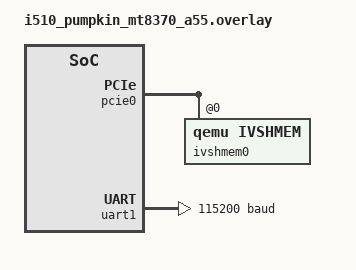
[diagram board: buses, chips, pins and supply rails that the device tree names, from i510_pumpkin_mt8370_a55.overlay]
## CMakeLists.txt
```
# SPDX-License-Identifier: Apache-2.0

cmake_minimum_required(VERSION 3.20.0)

find_package(Zephyr REQUIRED HINTS $ENV{ZEPHYR_BASE})
project(rpmsg-test)

target_include_directories(app PRIVATE ../../include)

target_sources(app PRIVATE src/main.c)
```

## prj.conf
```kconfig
CONFIG_OPENAMP=y
CONFIG_HEAP_MEM_POOL_SIZE=131072

CONFIG_PCIE=y
CONFIG_PCIE_CONTROLLER=y
CONFIG_PCIE_ECAM=y
CONFIG_POLL=y
CONFIG_DYNAMIC_INTERRUPTS=y

CONFIG_VIRTUALIZATION=y
CONFIG_IVSHMEM_V2=y
CONFIG_IVSHMEM_DOORBELL=y

# Logging related configurstions
#CONFIG_LOG=y
#CONFIG_LOG_MODE_IMMEDIATE=y
#CONFIG_LOG_DEFAULT_LEVEL=4
#CONFIG_PCIE_LOG_LEVEL_DBG=y
#CONFIG_IVSHMEM_LOG_LEVEL_DBG=y
```

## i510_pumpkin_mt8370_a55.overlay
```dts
/*
 * Copyright 2025 MediaTek
 *
 * SPDX-License-Identifier: Apache-2.0
 */

/ {
	chosen {
		zephyr,pcie-controller = &pcie0;
	};

	pcie0: pcie@6b800000 {
		compatible = "pci-host-ecam-generic";
		device_type = "pci";
		reg = <0x0 0x6b800000 0x00 0x100000>;
		#address-cells = <0x03>;
		#size-cells = <0x02>;
		ranges = <0x03000000 0x00 0x6b900000 0x0 0x6b900000 0x00 0x1000>;

		status = "okay";

		ivshmem0: ivshmem@0 {
			compatible = "qemu,ivshmem";

            ivshmem-v2;

            interrupt-parent = <&gic>;
            interrupts = <GIC_SPI 74 IRQ_TYPE_LEVEL_HIGH IRQ_DEFAULT_PRIORITY>;

			vendor-id = <0x110a>;			/* Siemens */
			device-id = <0x4106>;			/* IVSHMEM */
			class-rev = <0xff000000>;       /* PCI_CLASS_OTHERS | IVSHMEM_PROTO_UNDEFINED */
			class-rev-mask = <0xffffff00>;	/* PCI_CLASS_MASK | IVSHMEM_PROTO_MASK */

			reg = <0x00 0x00 0x00 0x00 0x01>;

			status = "okay";
		};
	};
};

&gpio0_31 {
	status = "okay";
};

&uart1 {
	pinctrl-0 = <&uart1_default>;
	pinctrl-names = "default";
	current-speed = <115200>;
	status = "okay";
};
```

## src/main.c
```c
/*
 * Copyright (c) 2018, NXP
 * Copyright (c) 2018, Nordic Semiconductor ASA
 * Copyright (c) 2018-2019, Linaro Limited
 *
 * SPDX-License-Identifier: Apache-2.0
 */

#include <stdio.h>
#include <stdlib.h>
#include <string.h>
#include <zephyr/device.h>
#include <zephyr/drivers/ipm.h>
#include <zephyr/drivers/virtualization/ivshmem.h>
#include <zephyr/kernel.h>

#include <openamp/open_amp.h>
#include <metal/device.h>

#include "common.h"


#define ERROR_STR  "[ERROR] "
#define INFO_STR   "[INFO]  "

#define RPMSG_SERVICE_NAME "rpmsg"

#define MSG_STR_SIZE 64

#define MSG_STR "Hello from Zephyr!"

#define RPMSG_THREAD_STACK_SIZE    2048
#define DOORBELL_THREAD_STACK_SIZE 2048


typedef struct {
	/* IVSHMEM device */
	const struct device* dev;

	/* Virtual and physical address of IVSHMEM RW memory region. */
	uintptr_t ivshmem_paddr;
	uintptr_t ivshmem_vaddr;

	/* Size of IVSHMEM RW memory region. */
	size_t ivshmem_size;
}   rpmsg_ctx_t;


static int msg_cnt = 0;

static char msg_tx [MSG_STR_SIZE];

static rpmsg_ctx_t rpmsg_ctx;

static uint32_t target = UINT32_MAX;
static uint32_t rpmsg_dest = UINT32_MAX;

static uintptr_t vdev_status_vaddr;

static struct metal_io_region metal_io;

static metal_phys_addr_t rpmsg_paddr_map;

static struct rpmsg_virtio_shm_pool shm_pool;

static struct virtqueue* vq [VRING_COUNT];

static struct virtio_vring_info vrings [VRING_COUNT];

static struct virtio_device vdev;

static struct rpmsg_virtio_device rpmsg_vdev;

static struct rpmsg_device* rpmsg_dev;

static struct rpmsg_endpoint rpmsg_ept;

static struct k_thread rpmsg_thread;
static struct k_thread doorbell_thread;

static K_THREAD_STACK_DEFINE (rpmsg_stack, RPMSG_THREAD_STACK_SIZE);
static K_THREAD_STACK_DEFINE (doorbell_stack, DOORBELL_THREAD_STACK_SIZE);

static K_SEM_DEFINE (ept_sem, 0, 1);

static struct k_poll_signal doorbell_sig = K_POLL_SIGNAL_INITIALIZER (doorbell_sig);

static struct k_poll_event doorbell_evt = K_POLL_EVENT_INITIALIZER (K_POLL_TYPE_SIGNAL, K_POLL_MODE_NOTIFY_ONLY, &doorbell_sig);

static volatile bool tx_msg = false;


static unsigned char vdev_get_status (struct virtio_device* vdev);
static void vdev_set_status (struct virtio_device* vdev,
                             unsigned char         status);
static uint32_t vdev_get_features (struct virtio_device* vdev);
static void vdev_set_features (struct virtio_device* vdev,
                               uint32_t              features);
static void vdev_nfy (struct virtqueue* vq);

static void rpmsg_ns_nfy (struct rpmsg_device* rdev,
                          const char*          name,
                          uint32_t             dest);
static int rpmsg_ept_nfy (struct rpmsg_endpoint* ept,
                          void*                  data,
		                  size_t                 len,
                          uint32_t               src,
                          void*                  priv);
static void rpmsg_service_unbind(struct rpmsg_endpoint* ept);

static void doorbell_task (void* arg1,
                           void* arg2,
                           void* arg3);
static void rpmsg_task (void* arg1,
                        void* arg2,
                        void* arg3);


static const struct virtio_dispatch vdispatch = {
	.get_status   = vdev_get_status,
	.set_status   = vdev_set_status,
	.get_features = vdev_get_features,
	.set_features = vdev_set_features,
	.notify       = vdev_nfy,
};


static unsigned char vdev_get_status (struct virtio_device* vdev)
{
	unsigned char status = *((volatile uint8_t*) vdev_status_vaddr);


    printf (INFO_STR "vdev_get_status  status: 0x%02x\n", status);

	return (status);
}

static void vdev_set_status (struct virtio_device* vdev,
                             unsigned char         status)
{
    printf (INFO_STR "vdev_set_status  status: 0x%02x\n", status);

    *((volatile uint8_t*) vdev_status_vaddr) = status;
}

static uint32_t vdev_get_features (struct virtio_device* vdev)
{
    uint32_t features = 1 << VIRTIO_RPMSG_F_NS;


    printf (INFO_STR "vdev_get_features  features: 0x%08x\n", features);

	return (features);
}

static void vdev_set_features (struct virtio_device* vdev,
                               uint32_t              features)
{
    printf (INFO_STR "vdev_set_features  features: 0x%08x\n", features);
}

static void vdev_nfy (struct virtqueue* vq)
{
    printf (INFO_STR "vdev_nfy  target: %d\n", target);

    /* For the moment, the interrupt number is always '0'. */
    ivshmem_int_peer (rpmsg_ctx.dev, target, 0);
}

static void rpmsg_ns_nfy (struct rpmsg_device* rdev,
                          const char*          name,
                          uint32_t             dest)
{
    printf (INFO_STR "rpmsg_ns_nfy  name: %s  dest: 0x%08x\n", name, dest);

	rpmsg_dev  = rdev;
	rpmsg_dest = dest;

	k_sem_give (&ept_sem);
}

static int rpmsg_ept_nfy (struct rpmsg_endpoint* ept,
                          void*                  data,
		                  size_t                 len,
                          uint32_t               src,
                          void*                  priv)
{
    printf (INFO_STR "RPMSG RX  len: %d  msg: \'%s\'\n", (int) len, (const char*) data);

    tx_msg = true;

	return (RPMSG_SUCCESS);
}

static void rpmsg_service_unbind (struct rpmsg_endpoint* ept)
{
    printf (INFO_STR "rpmsg_service_unbind\n");

	rpmsg_destroy_ept (ept);
}

static int send_message (void)
{
    msg_tx [0] = '\0';
    msg_cnt++;

    snprintf (msg_tx, sizeof (msg_tx), "%s  %d", MSG_STR, msg_cnt);

	printf(INFO_STR "send_message  Size: %zu\n", strlen (msg_tx) + 1);

	return (rpmsg_send (&rpmsg_ept, msg_tx, strlen (msg_tx) + 1));
}

static void doorbell_task (void* arg1,
                           void* arg2,
                           void* arg3)
{
	ARG_UNUSED (arg1);
	ARG_UNUSED (arg2);
	ARG_UNUSED (arg3);


    printf (INFO_STR "DOORBELL_TASK started ...\n");

	while (1) {
		int          vector;
		unsigned int signaled;

		k_poll (&doorbell_evt, 1, K_FOREVER);

		k_poll_signal_check (&doorbell_sig, &signaled, &vector);
		if (signaled == 0) {
			continue;
		}

    	virtqueue_notification (vq [VRING_TX]);

		k_poll_signal_init (&doorbell_sig);
	}
}

static void rpmsg_task (void* arg1,
                        void* arg2,
                        void* arg3)
{
    int                      ret;
	size_t                   rpmsg_size;
    uint32_t                 id;
    uint32_t                 max_peers;
    uintptr_t                vaddr;
    uintptr_t                rpmsg_paddr;
    uintptr_t                rpmsg_vaddr;
	struct metal_init_params metal_params = METAL_INIT_DEFAULTS;


	ARG_UNUSED (arg1);
	ARG_UNUSED (arg2);
	ARG_UNUSED (arg3);


    printf (INFO_STR "RPMSG_TASK started ...\n");

    /* Retrieve the IVSHMEM device memory region. */
	rpmsg_ctx.dev = DEVICE_DT_GET (DT_NODELABEL (ivshmem0));
	if (! (device_is_ready (rpmsg_ctx.dev))) {
		printf (ERROR_STR "Could not get IVSHMEM device\n");

		return;
	}

    /* Retrieve the IVSHMEM RQ memory section. */
	rpmsg_ctx.ivshmem_size = ivshmem_get_rw_mem_section (rpmsg_ctx.dev, &rpmsg_ctx.ivshmem_vaddr);
	if (rpmsg_ctx.ivshmem_size == 0) {
		printf (ERROR_STR "IVSHMEM RW size cannot be 0\n");
		
        return;
	}

	if (((void*) rpmsg_ctx.ivshmem_vaddr) == NULL) {
		printf (ERROR_STR "IVSHMEM virtual memory address cannot be null\n");
		
        return;
	}

    if (arch_page_phys_get ((void*) rpmsg_ctx.ivshmem_vaddr, &rpmsg_ctx.ivshmem_paddr) != 0) {
        printf (ERROR_STR "Failed to get physical address for IVSHMEM memory\n");
        
        return;
    }

    /* Retrieve the IVSHMEM device id. */
	id = ivshmem_get_id (rpmsg_ctx.dev);

    /* Calculate the target id. */
	max_peers = ivshmem_get_max_peers (rpmsg_ctx.dev);
    if (max_peers == 0) {
        printf (ERROR_STR "Invalid max_peers value: %d\n", max_peers);
        
        return;
    }

    target = id + 1;
    if (target >= max_peers) {
        target = 0;
    }

	printf (INFO_STR "IVSHMEM      Phy: 0x%016" PRIxPTR "  Virt: 0x%016" PRIxPTR "  Size: 0x%08x\n",
        rpmsg_ctx.ivshmem_paddr, rpmsg_ctx.ivshmem_vaddr, rpmsg_ctx.ivshmem_size);
	printf (INFO_STR "Id: %d  Target: %d\n", id, target);

    /* Initialize OPEN-AMP's METAL layer. */
	/* metal_params.log_level = METAL_LOG_DEBUG; */
	ret = metal_init (&metal_params);
	if (ret < 0) {
		printf (ERROR_STR "metal_init () failed with: %d\n", ret);

		return;
	}

    /* Calculate addresses for the shared memory region. */
    rpmsg_paddr = rpmsg_ctx.ivshmem_paddr + (VDEV_OFFSET + VDEV_STATUS_SIZE);
    rpmsg_vaddr = rpmsg_ctx.ivshmem_vaddr + (VDEV_OFFSET + VDEV_STATUS_SIZE);
    rpmsg_size  = rpmsg_ctx.ivshmem_size  - (VDEV_OFFSET + VDEV_STATUS_SIZE);

    rpmsg_paddr_map = (metal_phys_addr_t) rpmsg_paddr;

    /* The VDEV status start right before the shared memory region. */
    vdev_status_vaddr = rpmsg_vaddr - VDEV_STATUS_SIZE;

	/* Declare shared memory region */
	metal_io_init (&metal_io, (void*) rpmsg_vaddr, &rpmsg_paddr_map, rpmsg_size, -1, 0, NULL);

	/* Setup RPMSG queues */
	vq [VRING_TX] = virtqueue_allocate (VRING_NUM_DESCRS);
	if (vq [VRING_TX] == NULL) {
		printf (ERROR_STR "virtqueue_allocate (num_desc_extra: %d) failed with: %d\n", VRING_NUM_DESCRS, -ENOMEM);

        return;
    }

	vq [VRING_RX] = virtqueue_allocate (VRING_NUM_DESCRS);
	if (vq [VRING_RX] == NULL) {
		printf (ERROR_STR "virtqueue_allocate (num_desc_extra: %d) failed with: %d\n", VRING_NUM_DESCRS, -ENOMEM);

        return;
    }

	vrings [VRING_TX].io             = &metal_io;
	vrings [VRING_TX].info.vaddr     = (void*) (rpmsg_vaddr + rpmsg_size - VRING_SIZE);
	vrings [VRING_TX].info.num_descs = VRING_NUM_DESCRS;
	vrings [VRING_TX].info.align     = VRING_ALIGNMENT;
	vrings [VRING_TX].vq             = vq [VRING_TX];

	vrings [VRING_RX].io             = &metal_io;
	vrings [VRING_RX].info.vaddr     = (void*) (rpmsg_vaddr + rpmsg_size - (2 * VRING_SIZE));
	vrings [VRING_RX].info.num_descs = VRING_NUM_DESCRS;
	vrings [VRING_RX].info.align     = VRING_ALIGNMENT;
	vrings [VRING_RX].vq             = vq [VRING_RX];

	vdev.role        = RPMSG_HOST;
	vdev.vrings_num  = VRING_COUNT;
	vdev.func        = &vdispatch;
	vdev.vrings_info = vrings;
    
	printf (INFO_STR "VDEV STATUS  Phy: 0x%016" PRIxPTR "  Virt: 0x%016" PRIxPTR "  Size: 0x%08x\n",
        (rpmsg_paddr - VDEV_STATUS_SIZE), vdev_status_vaddr, VDEV_STATUS_SIZE);
	printf (INFO_STR "VBUFFER      Phy: 0x%016" PRIxPTR "  Virt: 0x%016" PRIxPTR "  Size: 0x%08x\n",
        rpmsg_paddr, rpmsg_vaddr, (unsigned int) (rpmsg_size - (2 * VRING_SIZE)));
	printf (INFO_STR "VRING [TX]   Phy: 0x%016" PRIxPTR "  Virt: 0x%016" PRIxPTR "  Size: 0x%08x\n",
        (rpmsg_paddr + rpmsg_size - VRING_SIZE), (uintptr_t) vrings [VRING_TX].info.vaddr, VRING_SIZE);
	printf (INFO_STR "VRING [RX]   Phy: 0x%016" PRIxPTR "  Virt: 0x%016" PRIxPTR "  Size: 0x%08x\n",
        (rpmsg_paddr + rpmsg_size - (2 * VRING_SIZE)), (uintptr_t) vrings [VRING_RX].info.vaddr, VRING_SIZE);

    /* Start the IVSHMEM doorbell thread ha ndler. */    
	ret = ivshmem_register_handler (rpmsg_ctx.dev, &doorbell_sig, 0);
    if (ret != 0) {
		printf (ERROR_STR "ivshmem_register_handler () failed with: %d\n", ret);

		return;
	}

    k_thread_create (&doorbell_thread, doorbell_stack, DOORBELL_THREAD_STACK_SIZE, doorbell_task, NULL, NULL, NULL, K_PRIO_COOP (2), 0, K_NO_WAIT);

	ret = ivshmem_enable_interrupts (rpmsg_ctx.dev, true);
    if (ret != 0) {
		printf (ERROR_STR "ivshmem_enable_interrupts () failed with: %d\n", ret);

		return;
	}

	rpmsg_virtio_init_shm_pool (&shm_pool, (void*) rpmsg_vaddr, rpmsg_size);

    /* Initialize the RPMSG VDEV. */
	ret = rpmsg_init_vdev (&rpmsg_vdev, &vdev, rpmsg_ns_nfy, &metal_io, &shm_pool);
	if (ret != 0) {
		printf (ERROR_STR "rpmsg_init_vdev () failed with: %d\n", ret);

		return;
	}

    /* Wait for the other side to connect. */
	k_sem_take (&ept_sem, K_FOREVER);

    /* Create endpoint with the other side. */
	ret = rpmsg_create_ept (&rpmsg_ept, rpmsg_dev, RPMSG_SERVICE_NAME, RPMSG_ADDR_ANY, rpmsg_dest, rpmsg_ept_nfy, rpmsg_service_unbind);
	if (ret != 0) {
		printf (ERROR_STR "rpmsg_create_ept failed with: %d\n", ret);

		return;
	}

    /* Wait for endpoint to become read. */
    while (! (is_rpmsg_ept_ready(&rpmsg_ept))) {};

    /* And now, send / receive messages. */
	while (1) {
		ret = send_message ();
		if (ret < 0) {
            printf (ERROR_STR "rpmsg_send () failed with: %d\n", ret);

			return;
		}

        while (! (tx_msg)) {
            k_msleep(100);
        }

        tx_msg = false;
	}

    while (1) {};
}

int main (void)
{
    printf ("RPMSG-TEST ...\n");

	k_thread_create (&rpmsg_thread, rpmsg_stack, RPMSG_THREAD_STACK_SIZE, rpmsg_task, NULL, NULL, NULL, K_PRIO_COOP (7), 0, K_NO_WAIT);

	return (0);
}
```
